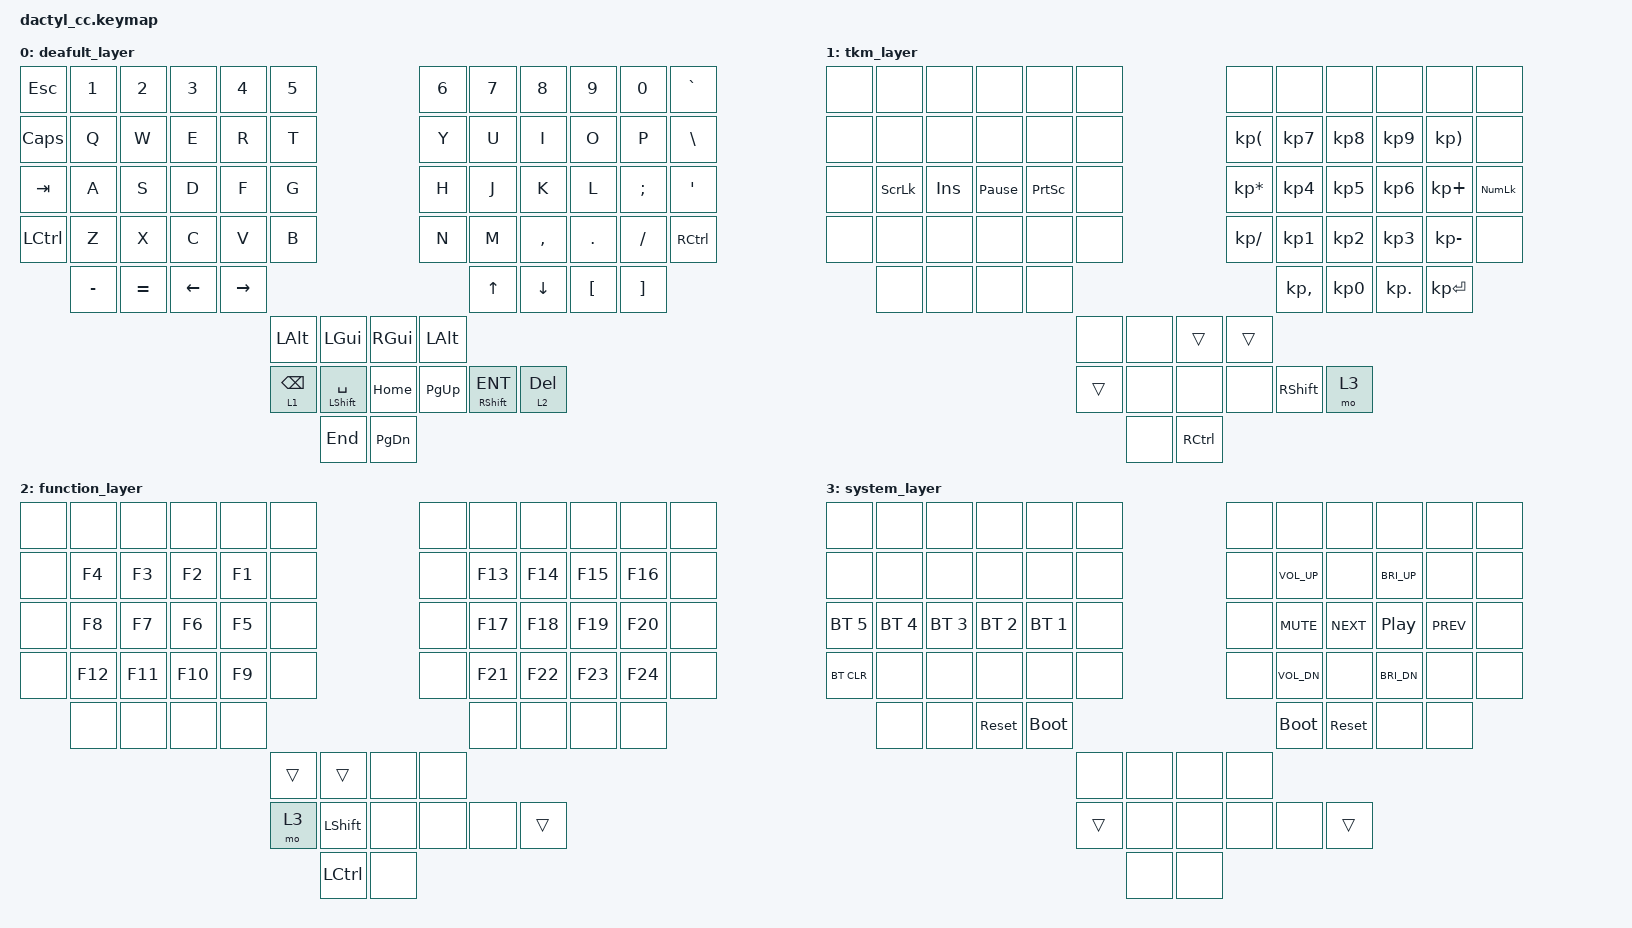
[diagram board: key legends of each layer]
/*
 * Copyright (c) 2023 Michael Johns
 *
 * SPDX-License-Identifier: MIT
 */

#include <behaviors.dtsi>
#include <dt-bindings/zmk/keys.h>
#include <dt-bindings/zmk/bt.h>

/ {
        keymap {
                compatible = "zmk,keymap";

                deafult_layer {
//  ----- ----- ----- ----- ----- -----                             ----- ----- ----- ----- ----- -----
// | ESC |  1  |  2  |  3  |  4  |  5  |                           |  6  |  7  |  8  |  9  |  0  |  `  |
//  ------ ----- ----- ----- ----- -----                             ----- ----- ----- ----- ----- -----
// | CAP |  Q  |  W  |  E  |  R  |  T  |                           |  Y  |  U  |  I  |  O  |  P  |  \  |
//  ------ ----- ----- ----- ----- -----                             ----- ----- ----- ----- ----- -----
// | TAB |  A  |  S  |  D  |  F  |  G  |                           |  H  |  J  |  K  |  L  |  ;  |  '  |
//  ----- ----- ----- ----- ----- -----                             ----- ----- ----- ----- ----- -----
// | CTL |  Z  |  X  |  C  |  V  |  B  |                           |  N  |  M  |  ,  |  .  |  /  | CTL |
//  ----- ----- ----- ----- ----- -----                             ----- ----- ----- ----- ----- -----
//       |  -  |  =  |  ←  |  →  |                                       |  ↑  |  ↓  |  [  |  ]  |
//        ----- ----- ----- -----       ----- -----     ----- -----       ----- ----- ----- -----
//                                     | ALT | GUI |   | GUI | ALT |
//                                ----- ----- -----     ----- ----- -----
//                               |     |     | HOM |   | PG↑ |     |     |
//                               | BSP | SPC |-----     -----| ENT | DEL |
//                               |(lt1)|(SFT)| END |   | PG↓ |(SFT)|(lt2)|
//                                ----- ----- -----     ----- ----- -----
                        bindings = <
   &kp ESC   &kp N1    &kp N2    &kp N3    &kp N4    &kp N5                                                    &kp N6 &kp N7 &kp N8    &kp N9   &kp N0   &kp GRAVE
   &kp CAPS  &kp Q     &kp W     &kp E     &kp R     &kp T                                                     &kp Y  &kp U  &kp I     &kp O    &kp P    &kp BSLH
   &kp TAB   &kp A     &kp S     &kp D     &kp F     &kp G                                                     &kp H  &kp J  &kp K     &kp L    &kp SEMI &kp SQT
   &kp LCTRL &kp Z     &kp X     &kp C     &kp V     &kp B                                                     &kp N  &kp M  &kp COMMA &kp DOT  &kp FSLH &kp RCTRL
             &kp MINUS &kp EQUAL &kp LEFT  &kp RIGHT                                                                  &kp UP &kp DOWN  &kp LBKT &kp RBKT
                                                            &kp LALT        &kp LGUI  &kp RGUI  &kp LALT
                                                 &lt 1 BSPC &mt LSHFT SPACE &kp HOME  &kp PG_UP &mt RSHFT ENT  &lt 2 DEL
                                                                            &kp END   &kp PG_DN
                        >;
                };

                tkm_layer {
//  ----- ----- ----- ----- ----- -----                             ----- ----- ----- ----- ----- -----
// |     |     |     |     |     |     |                           |     |     |     |     |     |     |
//  ----- ----- ----- ----- ----- -----                             ----- ----- ----- ----- ----- -----
// |     |     |     |     |     |     |                           | KP( | KP7 | KP8 | KP9 | KP) |     |
//  ----- ----- ----- ----- ----- -----                             ----- ----- ----- ----- ----- -----
// |     | SLK | INS | BRK | PSC |     |                           | KP* | KP4 | KP5 | KP6 | KP+ | NLK |
//  ----- ----- ----- ----- ----- -----                             ----- ----- ----- ----- ----- -----
// |     |     |     |     |     |     |                           | KP/ | KP1 | KP2 | KP3 | KP- |     |
//  ----- ----- ----- ----- ----- -----                             ----- ----- ----- ----- ----- -----
//       |     |     |     |     |                                       | KP, | KP0 | KP. | KP↵ |
//        ----- ----- ----- -----       ----- -----     ----- -----       ----- ----- ----- -----
//                                     |     |     |   |  ◌  |  ◌  |
//                                ----- ----- -----     ----- ----- -----
//                               |     |     |     |   |     |     |     |
//                               |  ◌  |     |-----     -----| SFT | mo3 |
//                               |     |     |     |   | CTL |     |     |
//                                ----- ----- -----     ----- ----- -----
                        bindings = <
   &none &none    &none   &none           &none     &none                                   &none           &none        &none     &none      &none        &none
   &none &none    &none   &none           &none     &none                                   &kp KP_LPAR     &kp KP_N7    &kp KP_N8 &kp KP_N9  &kp KP_RPAR  &none
   &none &kp SLCK &kp INS &kp PAUSE_BREAK &kp PSCRN &none                                   &kp KP_ASTERISK &kp KP_N4    &kp KP_N5 &kp KP_N6  &kp KP_PLUS  &kp KP_NUM
   &none &none    &none   &none           &none     &none                                   &kp KP_SLASH    &kp KP_N1    &kp KP_N2 &kp KP_N3  &kp KP_MINUS &none
         &none    &none   &none           &none                                                             &kp KP_COMMA &kp KP_N0 &kp KP_DOT &kp KP_ENTER
                                                           &none &none  &trans    &trans
                                                    &trans &none &none  &none     &kp RSHFT &mo 3
                                                                 &none  &kp RCTRL
                        >;
                };

                function_layer {
//  ----- ----- ----- ----- ----- -----                             ----- ----- ----- ----- ----- -----
// |     |     |     |     |     |     |                           |     |     |     |     |     |     |
//  ----- ----- ----- ----- ----- -----                             ----- ----- ----- ----- ----- -----
// |     | F4  | F3  | F2  | F1  |     |                           |     | F13 | F14 | F15 | F16 |     |
//  ----- ----- ----- ----- ----- -----                             ----- ----- ----- ----- ----- -----
// |     | F8  | F7  | F6  | F5  |     |                           |     | F17 | F18 | F19 | F20 |     |
//  ----- ----- ----- ----- ----- -----                             ----- ----- ----- ----- ----- -----
// |     | F12 | F11 | F10 | F9  |     |                           |     | F21 | F22 | F23 | F24 |     |
//  ----- ----- ----- ----- ----- -----                             ----- ----- ----- ----- ----- -----
//       |     |     |     |     |                                       |     |     |     |     |
//        ----- ----- ----- -----       ----- -----     ----- -----       ----- ----- ----- -----
//                                     |  ◌  |  ◌  |   |     |     |
//                                ----- ----- -----     ----- ----- -----
//                               |     |     |     |   |     |     |     |
//                               | mo3 | SFT |-----     -----|     |  ◌  |
//                               |     |     | CTL |   |     |     |     |
//                                ----- ----- -----     ----- ----- -----
                        bindings = <
   &none &none   &none   &none   &none  &none                                  &none &none   &none   &none   &none   &none
   &none &kp F4  &kp F3  &kp F2  &kp F1 &none                                  &none &kp F13 &kp F14 &kp F15 &kp F16 &none
   &none &kp F8  &kp F7  &kp F6  &kp F5 &none                                  &none &kp F17 &kp F18 &kp F19 &kp F20 &none
   &none &kp F12 &kp F11 &kp F10 &kp F9 &none                                  &none &kp F21 &kp F22 &kp F23 &kp F24 &none
         &none   &none   &none   &none                                               &none   &none   &none   &none
                                              &trans    &trans     &none &none
                                        &mo 3 &kp LSHFT &none      &none &none &trans
                                                        &kp LCTRL  &none
                        >;
                };

                system_layer {
//  ----- ----- ----- ----- ----- -----                             ----- ----- ----- ----- ----- -----
// |     |     |     |     |     |     |                           |     |     |     |     |     |     |
//  ----- ----- ----- ----- ----- -----                             ----- ----- ----- ----- ----- -----
// |     |     |     |     |     |     |                           |     | VL+ |     | BR+ |     |     |
//  ----- ----- ----- ----- ----- -----                             ----- ----- ----- ----- ----- -----
// | BT5 | BT4 | BT3 | BT2 | BT1 |     |                           |     | VLm | mNT | mPP | mPV |     |
//  ----- ----- ----- ----- ----- -----                             ----- ----- ----- ----- ----- -----
// | BTC |     |     |     |     |     |                           |     | VL- |     | BR- |     |     |
//  ----- ----- ----- ----- ----- -----                             ----- ----- ----- ----- ----- -----
//       |     |     | RST | BLR |                                       | BLR | RST |     |     |
//        ----- ----- ----- -----       ----- -----     ----- -----       ----- ----- ----- -----
//                                     |     |     |   |     |     |
//                                ----- ----- -----     ----- ----- -----
//                               |     |     |     |   |     |     |     |
//                               |  ◌  |     |-----     -----|     |  ◌  |
//                               |     |     |     |   |     |     |     |
//                                ----- ----- -----     ----- ----- -----
                        bindings = <
   &none        &none        &none        &none        &none        &none                           &none  &none        &none      &none        &none      &none
   &none        &none        &none        &none        &none        &none                           &none  &kp C_VOL_UP &none      &kp C_BRI_UP &none      &none
   &bt BT_SEL 5 &bt BT_SEL 4 &bt BT_SEL 3 &bt BT_SEL 2 &bt BT_SEL 1 &none                           &none  &kp C_MUTE   &kp C_NEXT &kp C_PP     &kp C_PREV &none
   &bt BT_CLR   &none        &none        &none        &none        &none                           &none  &kp C_VOL_DN &none      &kp C_BRI_DN &none      &none
                &none        &none        &sys_reset   &bootloader                                         &bootloader  &sys_reset &none        &none
                                                                           &none &none  &none &none
                                                                    &trans &none &none  &none &none &trans
                                                                                 &none  &none
                        >;
                };
        };
};
